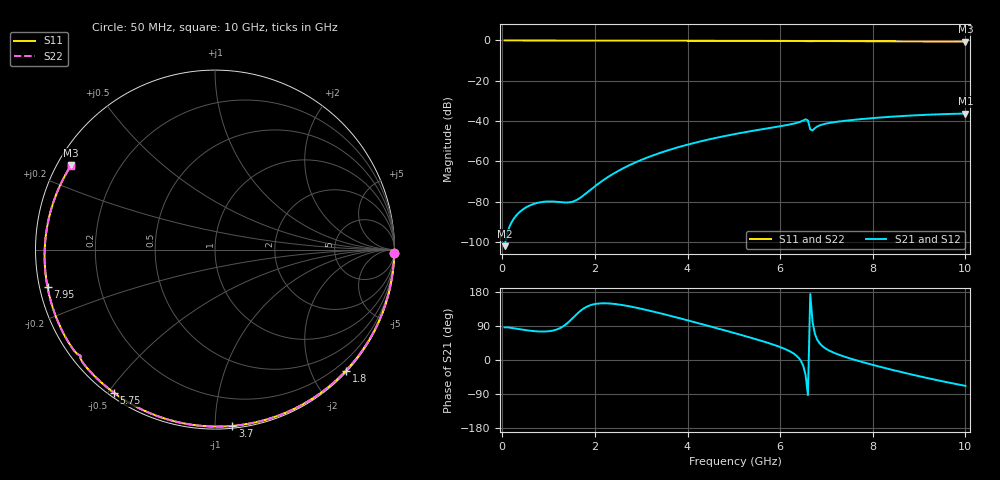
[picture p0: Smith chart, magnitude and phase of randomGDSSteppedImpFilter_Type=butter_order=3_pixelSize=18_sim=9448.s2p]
! freq	dB(S11)	phase(S11)	dB(S12)	phase(S12)
!  dB(S21)	phase(S21)	dB(S22)	phase(S22)
!S-par simulation data
#  GHz  S  DB  R 50
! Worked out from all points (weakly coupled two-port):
!   200 points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, 50 MHz to 10 GHz, reference 50 ohm
!   highest |S21| = -36.24 dB at 10 GHz (marker M1); lowest = -102.0 dB at 50 MHz (marker M2)
!   lowest |S11| = -0.6 dB at 10 GHz (marker M3), VSWR 27.24, Z = 1.97 + j13.5 ohm
!   |S11| at or under -10 dB: nowhere
!   |S22| runs from -0.6 to 0.0 dB; largest |S21 - S12| = 0
!   S11 on the Smith chart (normalised r, x): 50 MHz: 3, -98; 1.8 GHz: 0.02, -2.56; 3.7 GHz: 0.01, -1.10; 5.75 GHz: 0.02, -0.52; 7.95 GHz: 0.02, -0.11; 10 GHz: 0.04, +0.27
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0.05  -0.00 -1.2  -101.97 86.1  -101.97 86.1  -0.00 -1.2
0.75  -0.02 -18.0  -80.55 75.5  -80.55 75.5  -0.02 -18.0
1.5  -0.05 -35.7  -80.01 108.1  -80.01 108.1  -0.05 -35.7
1.75  -0.05 -41.5  -76.86 135.4  -76.86 135.4  -0.05 -41.5
1.8  -0.05 -42.7  -75.96 139.1  -75.96 139.1  -0.05 -42.7
2.15  -0.06 -50.7  -69.74 149.6  -69.74 149.6  -0.06 -50.7
2.5  -0.07 -58.5  -64.72 146.7  -64.72 146.7  -0.07 -58.5
3.4  -0.10 -78.0  -55.79 123.6  -55.79 123.6  -0.10 -78.0
3.7  -0.11 -84.3  -53.59 114.3  -53.59 114.3  -0.11 -84.3
5.05  -0.17 -111.6  -46.27 69.8  -46.27 69.8  -0.17 -111.6
5.75  -0.21 -125.2  -43.47 44.6  -43.47 44.6  -0.21 -125.2
6.3  -0.25 -135.9  -41.20 16.3  -41.20 16.3  -0.25 -135.8
6.55  -0.32 -141.0  -39.09 -39.7  -39.09 -39.7  -0.32 -141.0
6.6  -0.40 -141.8  -39.68 -92.9  -39.68 -92.9  -0.41 -141.8
6.65  -0.39 -142.0  -44.08 174.0  -44.08 174.0  -0.39 -142.0
6.7  -0.33 -142.9  -44.62 100.3  -44.62 100.3  -0.33 -142.9
6.8  -0.30 -144.9  -42.67 53.6  -42.67 53.6  -0.30 -144.9
7  -0.30 -148.9  -41.17 28.8  -41.17 28.8  -0.30 -148.9
7.95  -0.39 -167.3  -38.58 -11.2  -38.58 -11.2  -0.39 -167.3
8.35  -0.43 -175.2  -37.88 -23.9  -37.88 -23.9  -0.43 -175.2
9.2  -0.53 167.3  -36.80 -48.2  -36.80 -48.2  -0.53 167.3
10  -0.64 149.7  -36.24 -68.2  -36.24 -68.2  -0.64 149.7
